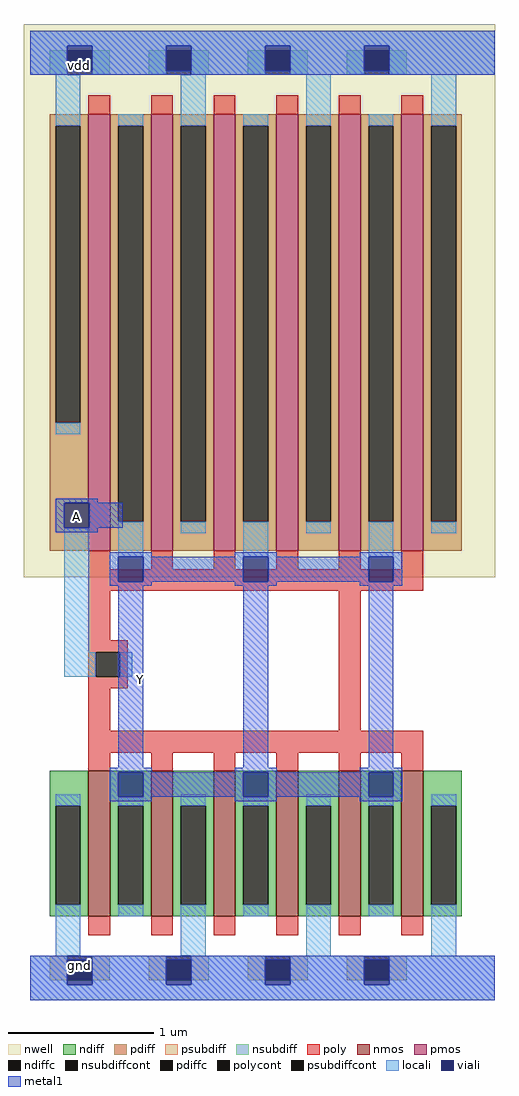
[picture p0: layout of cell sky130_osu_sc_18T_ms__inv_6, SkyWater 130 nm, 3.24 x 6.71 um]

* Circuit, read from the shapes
.subckt sky130_osu_sc_18T_ms__inv_6 A Y
XM1 Y A gnd gnd sky130_fd_pr__nfet_01v8 w=1 l=0.15 m=6
XM2 Y A vdd vdd sky130_fd_pr__pfet_01v8 w=3 l=0.15 m=6
.ends

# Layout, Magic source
magic
tech sky130A
magscale 1 2
<< nwell >>
rect -9 581 639 1341
<< nmos >>
rect 80 115 110 315
rect 166 115 196 315
rect 252 115 282 315
rect 338 115 368 315
rect 424 115 454 315
rect 510 115 540 315
<< pmos >>
rect 80 617 110 1217
rect 166 617 196 1217
rect 252 617 282 1217
rect 338 617 368 1217
rect 424 617 454 1217
rect 510 617 540 1217
<< ndiff >>
rect 27 267 80 315
rect 27 131 35 267
rect 69 131 80 267
rect 27 115 80 131
rect 110 267 166 315
rect 110 131 121 267
rect 155 131 166 267
rect 110 115 166 131
rect 196 267 252 315
rect 196 131 207 267
rect 241 131 252 267
rect 196 115 252 131
rect 282 267 338 315
rect 282 131 293 267
rect 327 131 338 267
rect 282 115 338 131
rect 368 267 424 315
rect 368 131 379 267
rect 413 131 424 267
rect 368 115 424 131
rect 454 267 510 315
rect 454 131 465 267
rect 499 131 510 267
rect 454 115 510 131
rect 540 267 593 315
rect 540 131 551 267
rect 585 131 593 267
rect 540 115 593 131
<< pdiff >>
rect 27 1201 80 1217
rect 27 793 35 1201
rect 69 793 80 1201
rect 27 617 80 793
rect 110 1201 166 1217
rect 110 657 121 1201
rect 155 657 166 1201
rect 110 617 166 657
rect 196 1201 252 1217
rect 196 657 207 1201
rect 241 657 252 1201
rect 196 617 252 657
rect 282 1201 338 1217
rect 282 657 293 1201
rect 327 657 338 1201
rect 282 617 338 657
rect 368 1201 424 1217
rect 368 657 379 1201
rect 413 657 424 1201
rect 368 617 424 657
rect 454 1201 510 1217
rect 454 657 465 1201
rect 499 657 510 1201
rect 454 617 510 657
rect 540 1201 593 1217
rect 540 657 551 1201
rect 585 657 593 1201
rect 540 617 593 657
<< ndiffc >>
rect 35 131 69 267
rect 121 131 155 267
rect 207 131 241 267
rect 293 131 327 267
rect 379 131 413 267
rect 465 131 499 267
rect 551 131 585 267
<< pdiffc >>
rect 35 793 69 1201
rect 121 657 155 1201
rect 207 657 241 1201
rect 293 657 327 1201
rect 379 657 413 1201
rect 465 657 499 1201
rect 551 657 585 1201
<< psubdiff >>
rect 27 27 51 61
rect 85 27 109 61
rect 163 27 187 61
rect 221 27 245 61
rect 299 27 323 61
rect 357 27 381 61
rect 435 27 459 61
rect 493 27 517 61
<< nsubdiff >>
rect 27 1271 51 1305
rect 85 1271 109 1305
rect 163 1271 187 1305
rect 221 1271 245 1305
rect 299 1271 323 1305
rect 357 1271 381 1305
rect 435 1271 459 1305
rect 493 1271 517 1305
<< psubdiffcont >>
rect 51 27 85 61
rect 187 27 221 61
rect 323 27 357 61
rect 459 27 493 61
<< nsubdiffcont >>
rect 51 1271 85 1305
rect 187 1271 221 1305
rect 323 1271 357 1305
rect 459 1271 493 1305
<< poly >>
rect 80 1217 110 1243
rect 166 1217 196 1243
rect 252 1217 282 1243
rect 338 1217 368 1243
rect 424 1217 454 1243
rect 510 1217 540 1243
rect 80 592 110 617
rect 166 592 196 617
rect 252 592 282 617
rect 338 592 368 617
rect 424 592 454 617
rect 510 592 540 617
rect 80 562 540 592
rect 80 494 110 562
rect 80 478 134 494
rect 80 444 90 478
rect 124 444 134 478
rect 80 428 134 444
rect 80 370 110 428
rect 424 370 454 562
rect 80 340 540 370
rect 80 315 110 340
rect 166 315 196 340
rect 252 315 282 340
rect 338 315 368 340
rect 424 315 454 340
rect 510 315 540 340
rect 80 89 110 115
rect 166 89 196 115
rect 252 89 282 115
rect 338 89 368 115
rect 424 89 454 115
rect 510 89 540 115
<< polycont >>
rect 90 444 124 478
<< locali >>
rect 0 1311 638 1332
rect 0 1271 51 1311
rect 85 1271 187 1311
rect 221 1271 323 1311
rect 357 1271 459 1311
rect 493 1271 638 1311
rect 35 1201 69 1271
rect 35 777 69 793
rect 121 1201 155 1217
rect 47 478 81 649
rect 121 609 155 657
rect 207 1201 241 1271
rect 207 641 241 657
rect 293 1201 327 1217
rect 293 609 327 657
rect 379 1201 413 1271
rect 379 641 413 657
rect 465 1201 499 1217
rect 465 609 499 657
rect 551 1201 585 1271
rect 551 641 585 657
rect 47 444 90 478
rect 124 444 140 478
rect 35 267 69 283
rect 35 61 69 131
rect 121 267 155 279
rect 121 115 155 131
rect 207 267 241 283
rect 207 61 241 131
rect 293 267 327 279
rect 293 115 327 131
rect 379 267 413 283
rect 379 61 413 131
rect 465 267 499 279
rect 465 115 499 131
rect 551 267 585 283
rect 551 61 585 131
rect 0 21 51 61
rect 85 21 187 61
rect 221 21 323 61
rect 357 21 459 61
rect 493 21 638 61
rect 0 0 638 21
<< viali >>
rect 51 1305 85 1311
rect 51 1277 85 1305
rect 187 1305 221 1311
rect 187 1277 221 1305
rect 323 1305 357 1311
rect 323 1277 357 1305
rect 459 1305 493 1311
rect 459 1277 493 1305
rect 47 649 81 683
rect 121 575 155 609
rect 293 575 327 609
rect 465 575 499 609
rect 121 279 155 313
rect 293 279 327 313
rect 465 279 499 313
rect 51 27 85 55
rect 51 21 85 27
rect 187 27 221 55
rect 187 21 221 27
rect 323 27 357 55
rect 323 21 357 27
rect 459 27 493 55
rect 459 21 493 27
<< metal1 >>
rect 0 1311 638 1332
rect 0 1277 51 1311
rect 85 1277 187 1311
rect 221 1277 323 1311
rect 357 1277 459 1311
rect 493 1277 638 1311
rect 0 1271 638 1277
rect 35 683 93 689
rect 35 649 47 683
rect 81 649 127 683
rect 35 643 93 649
rect 109 609 167 615
rect 281 609 339 615
rect 453 609 511 615
rect 109 575 121 609
rect 155 575 293 609
rect 327 575 465 609
rect 499 575 511 609
rect 109 569 167 575
rect 281 569 339 575
rect 453 569 511 575
rect 121 319 155 569
rect 293 319 327 569
rect 465 319 499 569
rect 109 313 167 319
rect 281 313 339 319
rect 453 313 511 319
rect 109 279 121 313
rect 155 279 293 313
rect 327 279 465 313
rect 499 279 511 313
rect 109 273 167 279
rect 281 273 339 279
rect 453 273 511 279
rect 0 55 638 61
rect 0 21 51 55
rect 85 21 187 55
rect 221 21 323 55
rect 357 21 459 55
rect 493 21 638 55
rect 0 0 638 21
<< labels >>
rlabel metal1 64 665 64 665 1 A
port 1 n
rlabel metal1 152 440 152 440 1 Y
port 2 n
rlabel viali 68 48 68 48 1 gnd
rlabel viali 68 1284 68 1284 1 vdd
<< end >>
